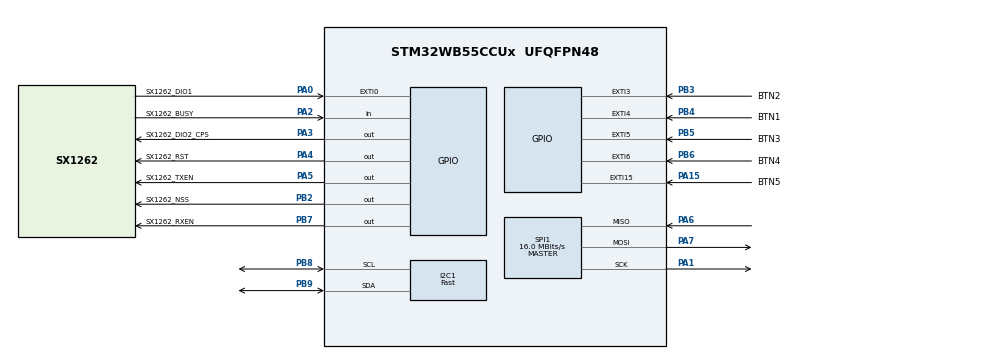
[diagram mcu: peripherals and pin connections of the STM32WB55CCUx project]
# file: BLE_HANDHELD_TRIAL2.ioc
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I2C1.I2C_Speed_Mode=I2C_Fast
I2C1.Timing=0x0060112F
Mcu.Family=STM32WB
Mcu.Name=STM32WB55CCUx
Mcu.Package=UFQFPN48
NVIC.EXTI0_IRQn=true\:0\:0\:false\:false\:true\:true\:true\:true
NVIC.EXTI15_10_IRQn=true\:0\:0\:false\:false\:true\:true\:true\:true
NVIC.EXTI3_IRQn=true\:0\:0\:false\:false\:true\:true\:true\:true
NVIC.EXTI4_IRQn=true\:0\:0\:false\:false\:true\:true\:true\:true
NVIC.EXTI9_5_IRQn=true\:0\:0\:false\:false\:true\:true\:true\:true
NVIC.HSEM_IRQn=true\:0\:0\:false\:false\:true\:false\:true\:true
NVIC.IPCC_C1_RX_IRQn=true\:0\:0\:false\:false\:true\:true\:true\:true
NVIC.IPCC_C1_TX_IRQn=true\:0\:0\:false\:false\:true\:true\:true\:true
NVIC.PriorityGroup=NVIC_PRIORITYGROUP_4
NVIC.RCC_IRQn=true\:0\:0\:false\:false\:true\:true\:false\:true
NVIC.RTC_WKUP_IRQn=true\:0\:0\:false\:false\:true\:true\:true\:true
OSC_IN.Mode=HSE-External-Oscillator
OSC_IN.Signal=RCC_OSC_IN
OSC_OUT.Mode=HSE-External-Oscillator
OSC_OUT.Signal=RCC_OSC_OUT
PA0.GPIO_Label=SX1262_DIO1
PA0.Signal=GPXTI0
PA1.Mode=Full_Duplex_Master
PA1.Signal=SPI1_SCK
PA10.Signal=USART1_RX
PA11.Signal=USART1_CTS
PA12.Signal=USART1_RTS
PA15.GPIO_Label=BTN5
PA15.GPIO_ModeDefaultEXTI=GPIO_MODE_IT_FALLING
PA15.Signal=GPXTI15
PA2.GPIO_Label=SX1262_BUSY
PA2.Signal=GPIO_Input
PA3.GPIO_Label=SX1262_DIO2_CPS
PA3.Signal=GPIO_Output
PA4.GPIO_Label=SX1262_RST
PA4.Signal=GPIO_Output
PA5.GPIO_Label=SX1262_TXEN
PA5.Signal=GPIO_Output
PA6.Mode=Full_Duplex_Master
PA6.Signal=SPI1_MISO
PA7.Mode=Full_Duplex_Master
PA7.Signal=SPI1_MOSI
PB2.GPIO_Label=SX1262_NSS
PB2.Signal=GPIO_Output
PB3.GPIO_Label=BTN2
PB3.GPIO_ModeDefaultEXTI=GPIO_MODE_IT_FALLING
PB3.Signal=GPXTI3
PB4.GPIO_Label=BTN1
PB4.GPIO_ModeDefaultEXTI=GPIO_MODE_IT_FALLING
PB4.Signal=GPXTI4
PB5.GPIO_Label=BTN3
PB5.GPIO_ModeDefaultEXTI=GPIO_MODE_IT_FALLING
PB5.Signal=GPXTI5
PB6.GPIO_Label=BTN4
PB6.GPIO_ModeDefaultEXTI=GPIO_MODE_IT_FALLING
PB6.Signal=GPXTI6
PB7.GPIO_Label=SX1262_RXEN
PB7.Signal=GPIO_Output
PB8.Mode=I2C
PB8.Signal=I2C1_SCL
PB9.Mode=I2C
PB9.Signal=I2C1_SDA
PC14-OSC32_IN.Mode=LSE-External-Oscillator
PC14-OSC32_IN.Signal=RCC_OSC32_IN
PC15-OSC32_OUT.Mode=LSE-External-Oscillator
PC15-OSC32_OUT.Signal=RCC_OSC32_OUT
ProjectManager.HeapSize=0x200
ProjectManager.StackSize=0x400
ProjectManager.TargetToolchain=STM32CubeIDE
RCC.ADCFreq_Value=128000000
RCC.AHBFreq_Value=32000000
RCC.APB1Freq_Value=32000000
RCC.APB1TimFreq_Value=32000000
RCC.APB2Freq_Value=32000000
RCC.APB2TimFreq_Value=32000000
RCC.APB3Freq_Value=16000000
RCC.CortexFreq_Value=32000000
RCC.HCLKFreq_Value=32000000
RCC.HSE_VALUE=32000000
RCC.HSI48_VALUE=48000000
RCC.HSI_VALUE=16000000
RCC.MSIClockRange=RCC_MSIRANGE_10
RCC.SYSCLKFreq_VALUE=32000000
RCC.USBFreq_Value=128000000
RCC.VCOOutputFreq_Value=256000000
RF1.Mode=RF1_Activate
RF1.Signal=RF_RF1
SPI1.CalculateBaudRate=16.0 MBits/s
SPI1.DataSize=SPI_DATASIZE_8BIT
SPI1.Direction=SPI_DIRECTION_2LINES
SPI1.Mode=SPI_MODE_MASTER
SPI1.VirtualType=VM_MASTER
STM32_WPAN.BLE_APPLICATION_TYPE=BLE_CLIENT_PROFILE
STM32_WPAN.CFG_LSCLK_LSE=0
VP_HSEM_VS_HSEM.Mode=HSEM_Activate
VP_IPCC_VS_IPCC.Mode=IPCC_Activate
VP_MEMORYMAP_VS_MEMORYMAP.Mode=CurAppReg
VP_RTC_VS_RTC_Activate.Mode=RTC_Enabled
VP_RTC_VS_RTC_WakeUp_intern.Mode=WakeUp
VP_SEQUENCER_VS_SEQUENCER.Mode=SEQUENCER_Enabled
VP_STM32_WPAN_VS_BLE_HOST.Mode=STM32_WPAN_Enabled
VP_TIM1_VS_ClockSourceITR.Mode=TriggerSource_ITR0
VP_TIM1_VS_ControllerModeClock.Mode=Clock Mode
VP_TINY_LPM_VS_TINY_LPM.Mode=TINY_LPM_Enabled
board=custom

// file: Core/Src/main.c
/* USER CODE BEGIN Header */
/**
  ******************************************************************************
  * @file           : main.c
  * @brief          : Main program body
  ******************************************************************************
  * @attention
  *
  * Copyright (c) 2026 STMicroelectronics.
  * All rights reserved.
  *
  * This software is licensed under terms that can be found in the LICENSE file
  * in the root directory of this software component.
  * If no LICENSE file comes with this software, it is provided AS-IS.
  *
  ******************************************************************************
  */
/* USER CODE END Header */
#include "main.h"

/* USER CODE BEGIN Includes */
#include "driver_ssd1309_font.h"
#include "driver_ssd1309.h"
#include "app_ble.h"
#include "ble_gap_aci.h"
#include "stm32_seq.h"
#include "board_sx126x_calls.h"
#include <stdio.h>
/* USER CODE END Includes */

I2C_HandleTypeDef hi2c1;

IPCC_HandleTypeDef hipcc;

RTC_HandleTypeDef hrtc;

SPI_HandleTypeDef hspi1;

TIM_HandleTypeDef htim1;

void SystemClock_Config(void);
void PeriphCommonClock_Config(void);
static void MX_GPIO_Init(void);
static void MX_I2C1_Init(void);
static void MX_IPCC_Init(void);
static void MX_RTC_Init(void);
static void MX_SPI1_Init(void);
static void MX_TIM1_Init(void);
static void MX_RF_Init(void);
/* USER CODE BEGIN PFP */
void Write_TO_OLED();
void BLE_RECIEVE();
/* USER CODE END PFP */

/* USER CODE BEGIN 0 */
volatile uint8_t display_toggle = 1;
ssd1309_handle_t gs_handle;
char oled_text[24];
int BLE_R = 0;
int BLE_M = 0;
int BLE_Dis = -1;
uint32_t now;
uint32_t last_update = 0;
const uint32_t update_interval = 1000;
/* USER CODE END 0 */

int main(void)
{

  /* MCU Configuration--------------------------------------------------------*/

  /* Reset of all peripherals, Initializes the Flash interface and the Systick. */
  HAL_Init();
  /* Config code for STM32_WPAN (HSE Tuning must be done before system clock configuration) */
  MX_APPE_Config();

  /* Configure the system clock */
  SystemClock_Config();

  /* Configure the peripherals common clocks */
  PeriphCommonClock_Config();

  /* IPCC initialisation */
  MX_IPCC_Init();

  /* Initialize all configured peripherals */
  MX_GPIO_Init();
  MX_I2C1_Init();
  MX_RTC_Init();
  MX_SPI1_Init();
  MX_TIM1_Init();
  MX_RF_Init();
  /* USER CODE BEGIN 2 */
  ssd1309_init(&gs_handle);
  strcpy(oled_text, "Hello World");

      // Clear display
      ssd1309_clear(&gs_handle);

      // Write text at coordinates (0,0)
	ssd1309_gram_write_string(&gs_handle, 0, 0, oled_text, 11, 1,
			SSD1309_FONT_12);

      // Update physical display
      ssd1309_gram_update(&gs_handle);
  /* USER CODE END 2 */

  /* Init code for STM32_WPAN */
  MX_APPE_Init();

  /* Infinite loop */
  /* USER CODE BEGIN WHILE */
	if(setup_22dBm_Tx(NULL) != SX126X_STATUS_OK){									// here we call the 22dBm setup and check it returns STATUS OK
		while(1){}																	// hold here indefinitely
	}

	if(rfswitch_Rx(NULL) != SX126X_STATUS_OK){										// here we call rfswitch_TX and check it returns STATUS OK
		while(1){}																	// hold here indefinitely
	}

  while (1)
  {
    /* USER CODE END WHILE */
    MX_APPE_Process();

    /* USER CODE BEGIN 3 */
    BLE_RECIEVE();
  }
  /* USER CODE END 3 */
}

void SystemClock_Config(void)
{
  RCC_OscInitTypeDef RCC_OscInitStruct = {0};
  RCC_ClkInitTypeDef RCC_ClkInitStruct = {0};

  /** Configure the main internal regulator output voltage
  */
  __HAL_PWR_VOLTAGESCALING_CONFIG(PWR_REGULATOR_VOLTAGE_SCALE1);

  /** Initializes the RCC Oscillators according to the specified parameters
  * in the RCC_OscInitTypeDef structure.
  */
  RCC_OscInitStruct.OscillatorType = RCC_OSCILLATORTYPE_HSI|RCC_OSCILLATORTYPE_LSI1
                              |RCC_OSCILLATORTYPE_HSE|RCC_OSCILLATORTYPE_MSI;
  RCC_OscInitStruct.HSEState = RCC_HSE_ON;
  RCC_OscInitStruct.HSIState = RCC_HSI_ON;
  RCC_OscInitStruct.MSIState = RCC_MSI_ON;
  RCC_OscInitStruct.HSICalibrationValue = RCC_HSICALIBRATION_DEFAULT;
  RCC_OscInitStruct.MSICalibrationValue = RCC_MSICALIBRATION_DEFAULT;
  RCC_OscInitStruct.MSIClockRange = RCC_MSIRANGE_10;
  RCC_OscInitStruct.LSIState = RCC_LSI_ON;
  RCC_OscInitStruct.PLL.PLLState = RCC_PLL_NONE;
  if (HAL_RCC_OscConfig(&RCC_OscInitStruct) != HAL_OK)
  {
    Error_Handler();
  }

  /** Configure the SYSCLKSource, HCLK, PCLK1 and PCLK2 clocks dividers
  */
  RCC_ClkInitStruct.ClockType = RCC_CLOCKTYPE_HCLK4|RCC_CLOCKTYPE_HCLK2
                              |RCC_CLOCKTYPE_HCLK|RCC_CLOCKTYPE_SYSCLK
                              |RCC_CLOCKTYPE_PCLK1|RCC_CLOCKTYPE_PCLK2;
  RCC_ClkInitStruct.SYSCLKSource = RCC_SYSCLKSOURCE_MSI;
  RCC_ClkInitStruct.AHBCLKDivider = RCC_SYSCLK_DIV1;
  RCC_ClkInitStruct.APB1CLKDivider = RCC_HCLK_DIV1;
  RCC_ClkInitStruct.APB2CLKDivider = RCC_HCLK_DIV1;
  RCC_ClkInitStruct.AHBCLK2Divider = RCC_SYSCLK_DIV1;
  RCC_ClkInitStruct.AHBCLK4Divider = RCC_SYSCLK_DIV1;

  if (HAL_RCC_ClockConfig(&RCC_ClkInitStruct, FLASH_LATENCY_1) != HAL_OK)
  {
    Error_Handler();
  }
}

void PeriphCommonClock_Config(void)
{
  RCC_PeriphCLKInitTypeDef PeriphClkInitStruct = {0};

  /** Initializes the peripherals clock
  */
  PeriphClkInitStruct.PeriphClockSelection = RCC_PERIPHCLK_SMPS|RCC_PERIPHCLK_RFWAKEUP;
  PeriphClkInitStruct.RFWakeUpClockSelection = RCC_RFWKPCLKSOURCE_HSE_DIV1024;
  PeriphClkInitStruct.SmpsClockSelection = RCC_SMPSCLKSOURCE_HSI;
  PeriphClkInitStruct.SmpsDivSelection = RCC_SMPSCLKDIV_RANGE1;

  if (HAL_RCCEx_PeriphCLKConfig(&PeriphClkInitStruct) != HAL_OK)
  {
    Error_Handler();
  }
}

static void MX_I2C1_Init(void)
{

  hi2c1.Instance = I2C1;
  hi2c1.Init.Timing = 0x0060112F;
  hi2c1.Init.OwnAddress1 = 0;
  hi2c1.Init.AddressingMode = I2C_ADDRESSINGMODE_7BIT;
  hi2c1.Init.DualAddressMode = I2C_DUALADDRESS_DISABLE;
  hi2c1.Init.OwnAddress2 = 0;
  hi2c1.Init.OwnAddress2Masks = I2C_OA2_NOMASK;
  hi2c1.Init.GeneralCallMode = I2C_GENERALCALL_DISABLE;
  hi2c1.Init.NoStretchMode = I2C_NOSTRETCH_DISABLE;
  if (HAL_I2C_Init(&hi2c1) != HAL_OK)
  {
    Error_Handler();
  }

  /** Configure Analogue filter
  */
  if (HAL_I2CEx_ConfigAnalogFilter(&hi2c1, I2C_ANALOGFILTER_ENABLE) != HAL_OK)
  {
    Error_Handler();
  }

  /** Configure Digital filter
  */
  if (HAL_I2CEx_ConfigDigitalFilter(&hi2c1, 0) != HAL_OK)
  {
    Error_Handler();
  }

}

static void MX_IPCC_Init(void)
{

  hipcc.Instance = IPCC;
  if (HAL_IPCC_Init(&hipcc) != HAL_OK)
  {
    Error_Handler();
  }

}

static void MX_RF_Init(void)
{

}

static void MX_RTC_Init(void)
{

  /** Initialize RTC Only
  */
  hrtc.Instance = RTC;
  hrtc.Init.HourFormat = RTC_HOURFORMAT_24;
  hrtc.Init.AsynchPrediv = CFG_RTC_ASYNCH_PRESCALER;
  hrtc.Init.SynchPrediv = CFG_RTC_SYNCH_PRESCALER;
  hrtc.Init.OutPut = RTC_OUTPUT_DISABLE;
  hrtc.Init.OutPutPolarity = RTC_OUTPUT_POLARITY_HIGH;
  hrtc.Init.OutPutType = RTC_OUTPUT_TYPE_OPENDRAIN;
  hrtc.Init.OutPutRemap = RTC_OUTPUT_REMAP_NONE;
  if (HAL_RTC_Init(&hrtc) != HAL_OK)
  {
    Error_Handler();
  }

  /** Enable the WakeUp
  */
  if (HAL_RTCEx_SetWakeUpTimer_IT(&hrtc, 0, RTC_WAKEUPCLOCK_RTCCLK_DIV16) != HAL_OK)
  {
    Error_Handler();
  }

}

static void MX_SPI1_Init(void)
{

  /* SPI1 parameter configuration*/
  hspi1.Instance = SPI1;
  hspi1.Init.Mode = SPI_MODE_MASTER;
  hspi1.Init.Direction = SPI_DIRECTION_2LINES;
  hspi1.Init.DataSize = SPI_DATASIZE_8BIT;
  hspi1.Init.CLKPolarity = SPI_POLARITY_LOW;
  hspi1.Init.CLKPhase = SPI_PHASE_1EDGE;
  hspi1.Init.NSS = SPI_NSS_SOFT;
  hspi1.Init.BaudRatePrescaler = SPI_BAUDRATEPRESCALER_2;
  hspi1.Init.FirstBit = SPI_FIRSTBIT_MSB;
  hspi1.Init.TIMode = SPI_TIMODE_DISABLE;
  hspi1.Init.CRCCalculation = SPI_CRCCALCULATION_DISABLE;
  hspi1.Init.CRCPolynomial = 7;
  hspi1.Init.CRCLength = SPI_CRC_LENGTH_DATASIZE;
  hspi1.Init.NSSPMode = SPI_NSS_PULSE_ENABLE;
  if (HAL_SPI_Init(&hspi1) != HAL_OK)
  {
    Error_Handler();
  }

}

static void MX_TIM1_Init(void)
{

  TIM_SlaveConfigTypeDef sSlaveConfig = {0};
  TIM_MasterConfigTypeDef sMasterConfig = {0};

  htim1.Instance = TIM1;
  htim1.Init.Prescaler = 0;
  htim1.Init.CounterMode = TIM_COUNTERMODE_UP;
  htim1.Init.Period = 65535;
  htim1.Init.ClockDivision = TIM_CLOCKDIVISION_DIV1;
  htim1.Init.RepetitionCounter = 0;
  htim1.Init.AutoReloadPreload = TIM_AUTORELOAD_PRELOAD_DISABLE;
  if (HAL_TIM_Base_Init(&htim1) != HAL_OK)
  {
    Error_Handler();
  }
  sSlaveConfig.SlaveMode = TIM_SLAVEMODE_EXTERNAL1;
  sSlaveConfig.InputTrigger = TIM_TS_ITR0;
  if (HAL_TIM_SlaveConfigSynchro(&htim1, &sSlaveConfig) != HAL_OK)
  {
    Error_Handler();
  }
  sMasterConfig.MasterOutputTrigger = TIM_TRGO_RESET;
  sMasterConfig.MasterOutputTrigger2 = TIM_TRGO2_RESET;
  sMasterConfig.MasterSlaveMode = TIM_MASTERSLAVEMODE_DISABLE;
  if (HAL_TIMEx_MasterConfigSynchronization(&htim1, &sMasterConfig) != HAL_OK)
  {
    Error_Handler();
  }

}

static void MX_GPIO_Init(void)
{
  GPIO_InitTypeDef GPIO_InitStruct = {0};

  /* GPIO Ports Clock Enable */
  __HAL_RCC_GPIOC_CLK_ENABLE();
  __HAL_RCC_GPIOB_CLK_ENABLE();
  __HAL_RCC_GPIOA_CLK_ENABLE();

  /*Configure GPIO pin Output Level */
  HAL_GPIO_WritePin(GPIOA, SX1262_DIO2_CPS_Pin|SX1262_RST_Pin|SX1262_TXEN_Pin, GPIO_PIN_RESET);

  /*Configure GPIO pin Output Level */
  HAL_GPIO_WritePin(GPIOB, SX1262_NSS_Pin|SX1262_RXEN_Pin, GPIO_PIN_RESET);

  /*Configure GPIO pin : SX1262_DIO1_Pin */
  GPIO_InitStruct.Pin = SX1262_DIO1_Pin;
  GPIO_InitStruct.Mode = GPIO_MODE_IT_RISING;
  GPIO_InitStruct.Pull = GPIO_NOPULL;
  HAL_GPIO_Init(SX1262_DIO1_GPIO_Port, &GPIO_InitStruct);

  /*Configure GPIO pin : SX1262_BUSY_Pin */
  GPIO_InitStruct.Pin = SX1262_BUSY_Pin;
  GPIO_InitStruct.Mode = GPIO_MODE_INPUT;
  GPIO_InitStruct.Pull = GPIO_NOPULL;
  HAL_GPIO_Init(SX1262_BUSY_GPIO_Port, &GPIO_InitStruct);

  /*Configure GPIO pins : SX1262_DIO2_CPS_Pin SX1262_RST_Pin SX1262_TXEN_Pin */
  GPIO_InitStruct.Pin = SX1262_DIO2_CPS_Pin|SX1262_RST_Pin|SX1262_TXEN_Pin;
  GPIO_InitStruct.Mode = GPIO_MODE_OUTPUT_PP;
  GPIO_InitStruct.Pull = GPIO_NOPULL;
  GPIO_InitStruct.Speed = GPIO_SPEED_FREQ_LOW;
  HAL_GPIO_Init(GPIOA, &GPIO_InitStruct);

  /*Configure GPIO pins : SX1262_NSS_Pin SX1262_RXEN_Pin */
  GPIO_InitStruct.Pin = SX1262_NSS_Pin|SX1262_RXEN_Pin;
  GPIO_InitStruct.Mode = GPIO_MODE_OUTPUT_PP;
  GPIO_InitStruct.Pull = GPIO_NOPULL;
  GPIO_InitStruct.Speed = GPIO_SPEED_FREQ_LOW;
  HAL_GPIO_Init(GPIOB, &GPIO_InitStruct);

  /*Configure GPIO pins : PA10 PA11 PA12 */
  GPIO_InitStruct.Pin = GPIO_PIN_10|GPIO_PIN_11|GPIO_PIN_12;
  GPIO_InitStruct.Mode = GPIO_MODE_AF_PP;
  GPIO_InitStruct.Pull = GPIO_NOPULL;
  GPIO_InitStruct.Speed = GPIO_SPEED_FREQ_LOW;
  GPIO_InitStruct.Alternate = GPIO_AF7_USART1;
  HAL_GPIO_Init(GPIOA, &GPIO_InitStruct);

  /*Configure GPIO pin : BTN5_Pin */
  GPIO_InitStruct.Pin = BTN5_Pin;
  GPIO_InitStruct.Mode = GPIO_MODE_IT_FALLING;
  GPIO_InitStruct.Pull = GPIO_NOPULL;
  HAL_GPIO_Init(BTN5_GPIO_Port, &GPIO_InitStruct);

  /*Configure GPIO pins : BTN2_Pin BTN1_Pin BTN3_Pin BTN4_Pin */
  GPIO_InitStruct.Pin = BTN2_Pin|BTN1_Pin|BTN3_Pin|BTN4_Pin;
  GPIO_InitStruct.Mode = GPIO_MODE_IT_FALLING;
  GPIO_InitStruct.Pull = GPIO_NOPULL;
  HAL_GPIO_Init(GPIOB, &GPIO_InitStruct);

  /* EXTI interrupt init*/
  HAL_NVIC_SetPriority(EXTI0_IRQn, 0, 0);
  HAL_NVIC_EnableIRQ(EXTI0_IRQn);

  HAL_NVIC_SetPriority(EXTI3_IRQn, 0, 0);
  HAL_NVIC_EnableIRQ(EXTI3_IRQn);

  HAL_NVIC_SetPriority(EXTI4_IRQn, 0, 0);
  HAL_NVIC_EnableIRQ(EXTI4_IRQn);

  HAL_NVIC_SetPriority(EXTI9_5_IRQn, 0, 0);
  HAL_NVIC_EnableIRQ(EXTI9_5_IRQn);

  HAL_NVIC_SetPriority(EXTI15_10_IRQn, 0, 0);
  HAL_NVIC_EnableIRQ(EXTI15_10_IRQn);

}

/* USER CODE BEGIN 4 */
void Write_TO_OLED() {
	float temperature_c;
	float humidity_percent;

	/*
	 * Convert raw SHT41 temperature to Farenhgiht
	 * T = -45 + 175 * (raw / 65535)
	 */
	temperature_c = -45.0f
			+ (315.0f * ((float) g_tlm_data.temperature_raw / 65535.0f));

	/*
	 * Convert raw SHT41 humidity to %RH
	 * RH = -6 + 125 * (raw / 65535)
	 */
	humidity_percent = -6.0f
			+ (125.0f * ((float) g_tlm_data.battery_mv / 65535.0f));

//	Limit humidity to the valid range
	if (humidity_percent < 0.0f) {
		humidity_percent = 0.0f;
	}

	if (humidity_percent > 100.0f) {
		humidity_percent = 100.0f;
	}

////  Display temperature
//	snprintf(oled_buffer, sizeof(oled_buffer), "TEMP: %.1f  F", temperature_c);
//
////	SSD1306_Clear();
//
//	SSD1306_GotoXY(0, 0);
//	SSD1306_Puts("SENSOR DATA", &Font_7x10, 1);
//
//	SSD1306_GotoXY(0, 14);
//	SSD1306_Puts(oled_buffer, &Font_7x10, 1);
//
//	/*
//	 * Display humidity
//	 */
//	snprintf(oled_buffer, sizeof(oled_buffer), "HUM: %.1f  %%",
//			humidity_percent);
//
//	SSD1306_GotoXY(0, 27);
//	SSD1306_Puts(oled_buffer, &Font_7x10, 1);
//
////	Display raw temperature
//	snprintf(oled_buffer, sizeof(oled_buffer), "TRAW: %u",
//			(unsigned int) g_tlm_data.temperature_raw);
//
//	SSD1306_GotoXY(0, 40);
//	SSD1306_Puts(oled_buffer, &Font_7x10, 1);
//
////	Display raw humidity
//	snprintf(oled_buffer, sizeof(oled_buffer), "HRAW: %u",
//			(unsigned int) g_tlm_data.battery_mv);
//
//	SSD1306_GotoXY(0, 53);
//	SSD1306_Puts(oled_buffer, &Font_7x10, 1);
//
//	SSD1306_UpdateScreen();

}

void BLE_RECIEVE()
{
   // update every 500ms
//	if (display_toggle)   // BUTTON_1 toggles this
//			{
//	UTIL_SEQ_SetTask(1 << CFG_TASK_START_SCAN_ID, CFG_SCH_PRIO_0);
	if(BLE_Dis == 0){
				if (g_tlm_data.valid) {
					now = HAL_GetTick();

					if (now - last_update >= update_interval) {
						last_update = now;
						Write_TO_OLED();
						g_tlm_data.valid = 0;   // Clear flag until next TLM frame
						BLE_R = 1;
						BLE_M = 0;
					}

				}
				else if (!g_tlm_data.valid) {
					now = HAL_GetTick();
					if (now - last_update >= update_interval + 4000) {
						last_update = now;
//						SSD1306_Clear();
//						SSD1306_GotoXY(0, 0);
//						SSD1306_Puts("BLE Missing...", &Font_7x10, 1);
//						SSD1306_UpdateScreen();
						BLE_R = 0;
						BLE_M = 1;
					}
				}
	}

	else if(BLE_Dis == 1){
			aci_gap_terminate_gap_proc(GAP_GENERAL_DISCOVERY_PROC);
			BLE_Dis = -1;
	}
}

void HAL_GPIO_EXTI_Callback(uint16_t GPIO_Pin)
{

	if(GPIO_Pin == BTN1_Pin){
		UTIL_SEQ_SetTask(1 << CFG_TASK_START_SCAN_ID, CFG_SCH_PRIO_0);
//		SSD1306_Clear();
//		SSD1306_GotoXY(0, 0);
//		SSD1306_Puts("BLE ENABLED...", &Font_7x10, 1);
//		SSD1306_UpdateScreen();
		BLE_Dis = 0;
	}

	if(GPIO_Pin == BTN2_Pin){
//		SSD1306_Clear();
//		SSD1306_GotoXY(0, 0);
//		SSD1306_Puts("BLE DISABLED...", &Font_7x10, 1);
//		SSD1306_UpdateScreen();
		BLE_Dis = 1;
	}

	if(GPIO_Pin == BTN3_Pin){
		sx126x_set_tx_cw(NULL);
//		SSD1306_Clear();
//		SSD1306_GotoXY(0, 0);
//		SSD1306_Puts("PWR TRANSMIT ON...", &Font_7x10, 1);
//		SSD1306_UpdateScreen();
	}

	if(GPIO_Pin == BTN4_Pin){
		sx126x_set_standby(NULL, SX126X_STANDBY_CFG_RC);
//		SSD1306_Clear();
//		SSD1306_GotoXY(0, 0);
//		SSD1306_Puts("PWR TRANSMIT OFF...", &Font_7x10, 1);
//		SSD1306_UpdateScreen();
	}
}

/* USER CODE END 4 */

void Error_Handler(void)
{
  __disable_irq();
  while (1)
  {
  }
}
